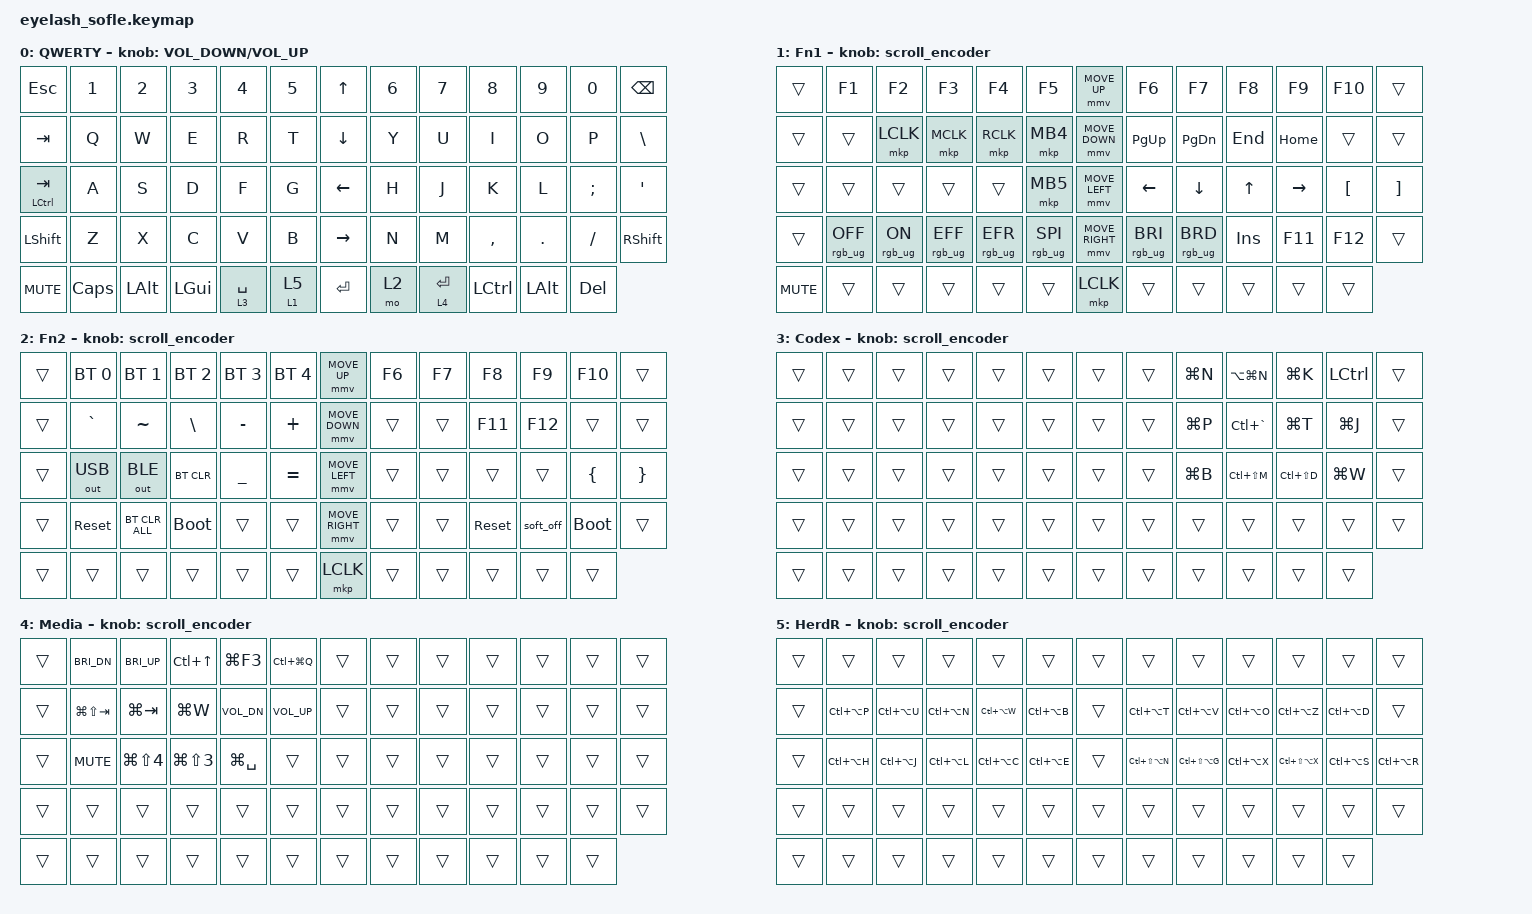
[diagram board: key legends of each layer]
#define ZMK_POINTING_DEFAULT_MOVE_VAL 1200  // 600
#define ZMK_POINTING_DEFAULT_SCRL_VAL 25   // 10

#include <input/processors.dtsi>
#include <zephyr/dt-bindings/input/input-event-codes.h>
#include <behaviors.dtsi>
#include <behaviors/runtime-sensor-rotate.dtsi>
#include <dt-bindings/zmk/bt.h>
#include <dt-bindings/zmk/keys.h>
#include <dt-bindings/zmk/outputs.h>
#include <dt-bindings/zmk/pointing.h>
#include <dt-bindings/zmk/rgb.h>

&mmv_input_listener { input-processors = <&zip_xy_scaler 2 1>; };

&msc_input_listener { input-processors = <&zip_scroll_scaler 2 1>; };

&msc {
    acceleration-exponent = <1>;      // 0
    time-to-max-speed-ms = <100>;       // 300
    delay-ms = <0>;                   // 0
};

&mmv {
    time-to-max-speed-ms = <500>;
    acceleration-exponent = <1>;
    trigger-period-ms = <16>;
};

&soft_off { hold-time-ms = <2000>; };

/ {
    behaviors {
        td0: td0 {
            compatible = "zmk,behavior-tap-dance";
            display-name = "Shift/Caps Lock Tap Dance";
            #binding-cells = <0>;
            tapping-term-ms = <200>;
            bindings = <&kp LEFT_SHIFT>, <&kp CAPS>;
        };

        fn1_herdr: fn1_herdr {
            compatible = "zmk,behavior-hold-tap";
            display-name = "Fn1 Hold / HerdR One-Shot";
            #binding-cells = <2>;
            flavor = "hold-preferred";
            tapping-term-ms = <200>;
            bindings = <&mo>, <&sl>;
        };

    };

    rgb_encoder: rgb_encoder {
        compatible = "zmk,behavior-sensor-rotate";
        #sensor-binding-cells = <0>;
        bindings = <&rgb_ug RGB_BRI>, <&rgb_ug RGB_BRD>;
    };

    scroll_encoder: scroll_encoder {
        compatible = "zmk,behavior-sensor-rotate";
        #sensor-binding-cells = <0>;
        bindings = <&msc SCRL_DOWN>, <&msc SCRL_UP>;

        tap-ms = <100>;
    };

    combos {
        compatible = "zmk,combos";

        softoff {
            bindings = <&soft_off>;
            key-positions = <1 15 29>;
        };
    };

    keymap {
        compatible = "zmk,keymap";

        default_layer {
            display-name = "QWERTY";
            bindings = <
&kp ESC &kp N1 &kp N2 &kp N3 &kp N4 &kp N5 &kp UP &kp N6 &kp N7 &kp N8 &kp N9 &kp N0 &kp BSPC
&kp TAB &kp Q &kp W &kp E &kp R &kp T &kp DOWN &kp Y &kp U &kp I &kp O &kp P &kp BSLH
&mt LCTRL TAB &kp A &kp S &kp D &kp F &kp G &kp LEFT &kp H &kp J &kp K &kp L &kp SEMI &kp SQT
&kp LSHFT &kp Z &kp X &kp C &kp V &kp B &kp RIGHT &kp N &kp M &kp COMMA &kp DOT &kp FSLH &kp RSHIFT
&kp C_MUTE &kp CAPS &kp LALT &kp LGUI &lt 3 SPACE &fn1_herdr 1 5  &kp ENTER  &mo 2 &lt 4 ENTER &kp LCTRL &kp LALT &kp DEL
            >;
            sensor-bindings = <&inc_dec_kp C_VOLUME_DOWN C_VOLUME_UP>;
        };

        lower_layer {
            display-name = "Fn1";
            bindings = <
&trans      &kp F1           &kp F2          &kp F3           &kp F4           &kp F5             &mmv MOVE_UP     &kp F6           &kp F7           &kp F8      &kp F9     &kp F10           &trans
&trans      &trans           &mkp LCLK       &mkp MCLK        &mkp RCLK        &mkp MB4           &mmv MOVE_DOWN   &kp PG_UP        &kp PG_DN        &kp END     &kp HOME   &trans            &trans
&trans      &trans           &trans          &trans           &trans           &mkp MB5           &mmv MOVE_LEFT   &kp LEFT         &kp DOWN         &kp UP     &kp RIGHT  &kp LEFT_BRACKET  &kp RIGHT_BRACKET
&trans      &rgb_ug RGB_OFF  &rgb_ug RGB_ON  &rgb_ug RGB_EFF  &rgb_ug RGB_EFR  &rgb_ug RGB_SPI    &mmv MOVE_RIGHT  &rgb_ug RGB_BRI  &rgb_ug RGB_BRD  &kp INSERT  &kp F11    &kp F12           &trans
&kp C_MUTE  &trans           &trans          &trans           &trans           &trans             &mkp LCLK        &trans           &trans           &trans      &trans     &trans
            >;
            sensor-bindings = <&scroll_encoder>;
        };

        raise_layer {
            display-name = "Fn2";
            bindings = <
&trans     &bt BT_SEL 0  &bt BT_SEL 1    &bt BT_SEL 2  &bt BT_SEL 3  &bt BT_SEL 4    &mmv MOVE_UP     &kp F6  &kp F7  &kp F8      &kp F9     &kp F10      &trans
&trans     &kp GRAVE     &kp TILDE       &kp BSLH      &kp MINUS     &kp PLUS        &mmv MOVE_DOWN   &trans  &trans  &kp F11     &kp F12    &trans       &trans
&trans     &out OUT_USB  &out OUT_BLE    &bt BT_CLR    &kp UNDER     &kp EQUAL       &mmv MOVE_LEFT   &trans  &trans  &trans      &trans     &kp LBRC     &kp RBRC
&trans     &sys_reset    &bt BT_CLR_ALL  &bootloader   &trans        &trans          &mmv MOVE_RIGHT  &trans  &trans  &sys_reset  &soft_off  &bootloader  &trans
&trans     &trans        &trans          &trans        &trans        &trans          &mkp LCLK        &trans  &trans  &trans      &trans     &trans
            >;
            sensor-bindings = <&scroll_encoder>;
        };

        layer_3 {
            display-name = "Codex";
            bindings = <
// Current CXT 12-key Codex grid, placed as a 3×4 block on the right hand.
&trans  &trans  &trans  &trans  &trans  &trans    &trans  &trans              &kp LG(N)         &kp LA(LG(N))   &kp LG(K)      &kp LCTRL      &trans
&trans  &trans  &trans  &trans  &trans  &trans    &trans  &trans              &kp LG(P)         &kp LC(GRAVE)   &kp LG(T)      &kp LG(J)      &trans
&trans  &trans  &trans  &trans  &trans  &trans    &trans  &trans              &kp LG(B)         &kp LC(LS(M))   &kp LC(LS(D)) &kp LG(W)      &trans
&trans  &trans  &trans  &trans  &trans  &trans    &trans  &trans    &trans        &trans   &trans      &trans        &trans
&trans  &trans  &trans  &trans  &trans  &trans    &trans  &trans  &trans  &trans  &trans  &trans
            >;
            sensor-bindings = <&scroll_encoder>;
        };

        layer_4 {
            display-name = "Media";
            bindings = <
&trans  &kp C_BRI_DN      &kp C_BRI_UP       &kp LC(UP)       &kp LG(F3)       &kp LC(LG(Q))    &trans  &trans  &trans  &trans  &trans  &trans  &trans
&trans  &kp LG(LS(TAB))   &kp LG(TAB)        &kp LG(W)        &kp C_VOL_DN     &kp C_VOL_UP     &trans  &trans  &trans  &trans  &trans  &trans  &trans
&trans  &kp C_MUTE        &kp LG(LS(N4))     &kp LG(LS(N3))   &kp LG(SPACE)    &trans           &trans  &trans  &trans  &trans  &trans  &trans  &trans
&trans  &trans  &trans  &trans  &trans  &trans    &trans  &trans  &trans  &trans  &trans  &trans  &trans
&trans  &trans  &trans  &trans  &trans  &trans    &trans  &trans  &trans  &trans  &trans  &trans
            >;
            sensor-bindings = <&scroll_encoder>;
        };

        layer_5 {
            display-name = "HerdR";
            bindings = <
&trans &trans          &trans           &trans           &trans           &trans           &trans &trans              &trans              &trans              &trans              &trans              &trans
&trans &kp LC(LA(P))   &kp LC(LA(U))    &kp LC(LA(N))    &kp LC(LA(W))    &kp LC(LA(B))    &trans &kp LC(LA(T))       &kp LC(LA(V))       &kp LC(LA(O))       &kp LC(LA(Z))       &kp LC(LA(D))       &trans
&trans &kp LC(LA(H))   &kp LC(LA(J))    &kp LC(LA(L))    &kp LC(LA(C))    &kp LC(LA(E))    &trans &kp LC(LS(LA(N)))  &kp LC(LS(LA(G)))  &kp LC(LA(X))       &kp LC(LS(LA(X)))  &kp LC(LA(S))       &kp LC(LA(R))
&trans &trans          &trans           &trans           &trans           &trans           &trans &trans              &trans              &trans              &trans              &trans              &trans
&trans &trans          &trans           &trans           &trans           &trans           &trans &trans              &trans              &trans              &trans              &trans
            >;
            sensor-bindings = <&scroll_encoder>;
        };

    };
};
